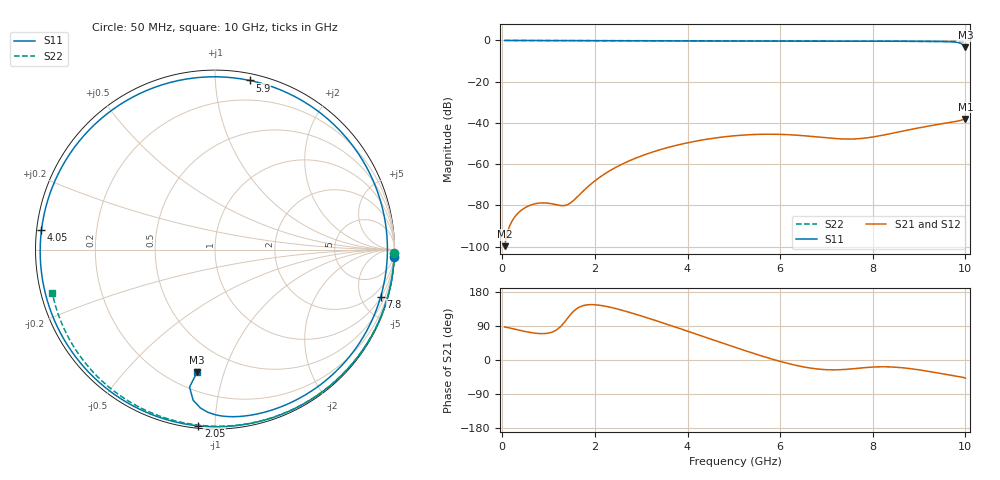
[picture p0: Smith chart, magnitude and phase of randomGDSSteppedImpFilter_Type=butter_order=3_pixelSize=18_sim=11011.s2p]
! freq	dB(S11)	phase(S11)	dB(S12)	phase(S12)
!  dB(S21)	phase(S21)	dB(S22)	phase(S22)
!S-par simulation data
#  GHz  S  DB  R 50
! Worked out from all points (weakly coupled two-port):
!   200 points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, 50 MHz to 10 GHz, reference 50 ohm
!   highest |S21| = -38.06 dB at 10 GHz (marker M1); lowest = -99.8 dB at 50 MHz (marker M2)
!   lowest |S11| = -3.2 dB at 10 GHz (marker M3), VSWR 5.44, Z = 15.7 - j40.7 ohm
!   |S11| at or under -10 dB: nowhere
!   |S22| runs from -0.6 to 0.0 dB; largest |S21 - S12| = 0
!   S11 on the Smith chart (normalised r, x): 50 MHz: 1, -47; 2.05 GHz: 0.01, -0.91; 4.05 GHz: 0.01, +0.06; 5.9 GHz: 0.05, +1.22; 7.8 GHz: 1.05, -7.02; 10 GHz: 0.31, -0.81
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0.05  -0.01 -2.4  -99.80 87.2  -99.80 87.2  -0.00 -1.0
0.65  -0.04 -31.0  -79.59 71.7  -79.59 71.7  -0.01 -12.2
1.35  -0.08 -63.6  -80.06 100.9  -80.06 100.9  -0.03 -25.3
1.5  -0.09 -70.5  -78.37 123.6  -78.37 123.6  -0.04 -28.0
1.75  -0.10 -81.9  -73.00 143.5  -73.00 143.5  -0.04 -32.6
2.05  -0.12 -95.4  -67.25 145.2  -67.25 145.2  -0.05 -38.0
2.7  -0.15 -124.6  -58.82 127.3  -58.82 127.3  -0.06 -49.6
3.4  -0.20 -156.1  -53.05 100.6  -53.05 100.6  -0.08 -61.8
4.05  -0.24 173.5  -49.42 74.1  -49.42 74.1  -0.10 -72.7
4.55  -0.27 149.1  -47.47 53.2  -47.47 53.2  -0.12 -81.0
5.05  -0.30 123.6  -46.17 32.5  -46.17 32.5  -0.14 -89.0
5.5  -0.32 99.9  -45.58 14.5  -45.58 14.5  -0.16 -96.2
5.9  -0.33 78.4  -45.51 -0.3  -45.51 -0.3  -0.18 -102.4
6.3  -0.34 57.0  -45.87 -12.9  -45.87 -12.9  -0.20 -108.6
6.7  -0.34 36.2  -46.60 -22.1  -46.60 -22.1  -0.22 -114.7
7.25  -0.35 9.0  -47.69 -25.9  -47.69 -25.9  -0.26 -123.0
7.8  -0.36 -15.9  -47.44 -20.5  -47.44 -20.5  -0.31 -131.3
8.35  -0.38 -38.3  -45.37 -18.2  -45.37 -18.2  -0.36 -139.5
8.95  -0.42 -60.4  -42.61 -25.1  -42.61 -25.1  -0.42 -148.6
9.55  -0.54 -81.6  -40.20 -37.5  -40.20 -37.5  -0.49 -157.9
9.85  -1.05 -95.3  -39.04 -43.7  -39.04 -43.7  -0.53 -162.6
10  -3.23 -98.3  -38.06 -47.9  -38.06 -47.9  -0.55 -165.0
